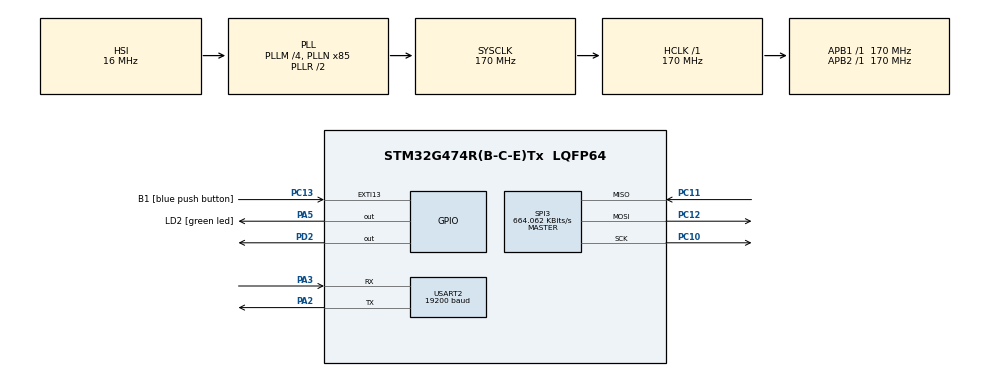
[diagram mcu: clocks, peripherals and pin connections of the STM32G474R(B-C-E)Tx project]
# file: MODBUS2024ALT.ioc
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Mcu.Family=STM32G4
Mcu.Name=STM32G474R(B-C-E)Tx
Mcu.Package=LQFP64
NVIC.EXTI15_10_IRQn=true\:0\:0\:false\:false\:true\:true\:true\:true
NVIC.PriorityGroup=NVIC_PRIORITYGROUP_4
NVIC.SPI3_IRQn=true\:0\:0\:false\:false\:true\:true\:true\:true
NVIC.TIM1_UP_TIM16_IRQn=true\:0\:0\:false\:false\:true\:true\:true\:true
NVIC.USART2_IRQn=true\:0\:0\:false\:false\:true\:true\:true\:true
PA13.GPIO_Label=T_SWDIO
PA13.Mode=Serial_Wire
PA13.Signal=SYS_JTMS-SWDIO
PA14.GPIO_Label=T_SWCLK
PA14.Mode=Serial_Wire
PA14.Signal=SYS_JTCK-SWCLK
PA2.Mode=Asynchronous
PA2.Signal=USART2_TX
PA3.Mode=Asynchronous
PA3.Signal=USART2_RX
PA5.GPIO_Label=LD2 [green led]
PA5.Signal=GPIO_Output
PB3.GPIO_Label=T_SWO
PB3.Signal=SYS_JTDO-SWO
PC10.Mode=Full_Duplex_Master
PC10.Signal=SPI3_SCK
PC11.Mode=Full_Duplex_Master
PC11.Signal=SPI3_MISO
PC12.Mode=Full_Duplex_Master
PC12.Signal=SPI3_MOSI
PC13.GPIO_Label=B1 [blue push button]
PC13.Signal=GPXTI13
PC14-OSC32_IN.Mode=LSE-External-Oscillator
PC14-OSC32_IN.Signal=RCC_OSC32_IN
PC15-OSC32_OUT.Mode=LSE-External-Oscillator
PC15-OSC32_OUT.Signal=RCC_OSC32_OUT
PD2.Signal=GPIO_Output
PF0-OSC_IN.Mode=HSE-External-Oscillator
PF0-OSC_IN.Signal=RCC_OSC_IN
PF1-OSC_OUT.Mode=HSE-External-Oscillator
PF1-OSC_OUT.Signal=RCC_OSC_OUT
ProjectManager.HeapSize=0x200
ProjectManager.StackSize=0x400
ProjectManager.TargetToolchain=STM32CubeIDE
RCC.ADC12Freq_Value=170000000
RCC.ADC345Freq_Value=170000000
RCC.AHBFreq_Value=170000000
RCC.APB1Freq_Value=170000000
RCC.APB1TimFreq_Value=170000000
RCC.APB2Freq_Value=170000000
RCC.APB2TimFreq_Value=170000000
RCC.CortexFreq_Value=170000000
RCC.EXTERNAL_CLOCK_VALUE=12288000
RCC.HCLKFreq_Value=170000000
RCC.HSE_VALUE=24000000
RCC.HSI48_VALUE=48000000
RCC.HSI_VALUE=16000000
RCC.PLLM=RCC_PLLM_DIV4
RCC.PLLN=85
RCC.RTCClockSelection=RCC_RTCCLKSOURCE_LSE
RCC.SYSCLKFreq_VALUE=170000000
RCC.SYSCLKSource=RCC_SYSCLKSOURCE_PLLCLK
RCC.USBFreq_Value=170000000
RCC.VCOOutputFreq_Value=340000000
SPI3.BaudRatePrescaler=SPI_BAUDRATEPRESCALER_256
SPI3.CalculateBaudRate=664.062 KBits/s
SPI3.DataSize=SPI_DATASIZE_8BIT
SPI3.Direction=SPI_DIRECTION_2LINES
SPI3.Mode=SPI_MODE_MASTER
SPI3.VirtualType=VM_MASTER
TIM16.PeriodNoDither=1145
TIM16.Prescaler=169
USART2.BaudRate=19200
USART2.Parity=PARITY_EVEN
USART2.VirtualMode-Asynchronous=VM_ASYNC
USART2.WordLength=WORDLENGTH_9B
VP_SYS_VS_DBSignals.Mode=DisableDeadBatterySignals
VP_TIM16_VS_ClockSourceINT.Mode=Enable_Timer
VP_TIM16_VS_OPM.Mode=OPM_bit
board=NUCLEO-G474RE

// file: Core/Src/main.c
/* USER CODE BEGIN Header */
/**
  ******************************************************************************
  * @file           : main.c
  * @brief          : Main program body
  ******************************************************************************
  * @attention
  *
  * Copyright (c) 2024 STMicroelectronics.
  * All rights reserved.
  *
  * This software is licensed under terms that can be found in the LICENSE file
  * in the root directory of this software component.
  * If no LICENSE file comes with this software, it is provided AS-IS.
  *
  ******************************************************************************
  */
/* USER CODE END Header */
#include "main.h"

/* USER CODE BEGIN Includes */
#include "ModBusRTU.h"
//#include "stm32h4xx_hal_msp"
/* USER CODE END Includes */

SPI_HandleTypeDef hspi3;

TIM_HandleTypeDef htim16;

UART_HandleTypeDef huart2;

/* USER CODE BEGIN PV */
ModbusHandleTypedef hmodbus;
u16u8_t registerFrame[200];
uint8_t SPIRx[10];
uint8_t SPITx[10];

/* USER CODE END PV */

void SystemClock_Config(void);
static void MX_GPIO_Init(void);
static void MX_USART2_UART_Init(void);
static void MX_TIM16_Init(void);
static void MX_SPI3_Init(void);
/* USER CODE BEGIN PFP */
void SPITxRx_Setup();
void SPITxRx_readIO();
void SPITxRx_writeIO();
/* USER CODE END PFP */

int main(void)
{

  /* MCU Configuration--------------------------------------------------------*/

  /* Reset of all peripherals, Initializes the Flash interface and the Systick. */
  HAL_Init();

  /* Configure the system clock */
  SystemClock_Config();

  /* Initialize all configured peripherals */
  MX_GPIO_Init();
  MX_USART2_UART_Init();
  MX_TIM16_Init();
  MX_SPI3_Init();
  /* USER CODE BEGIN 2 */
  hmodbus.huart = &huart2;
  hmodbus.htim = &htim16;
  hmodbus.slaveAddress = 0x15;
  hmodbus.RegisterSize =200;
  Modbus_init(&hmodbus, registerFrame);
  SPITxRx_Setup();
  /* USER CODE END 2 */

  /* Infinite loop */
  while (1)
  {

    /* USER CODE BEGIN 3 */
	  Modbus_Protocal_Worker();
	  SPITxRx_readIO();
	  registerFrame[0x00].U16 = SPIRx[2];
  }
  /* USER CODE END 3 */
}

void SystemClock_Config(void)
{
  RCC_OscInitTypeDef RCC_OscInitStruct = {0};
  RCC_ClkInitTypeDef RCC_ClkInitStruct = {0};

  /** Configure the main internal regulator output voltage
  */
  HAL_PWREx_ControlVoltageScaling(PWR_REGULATOR_VOLTAGE_SCALE1_BOOST);

  /** Initializes the RCC Oscillators according to the specified parameters
  * in the RCC_OscInitTypeDef structure.
  */
  RCC_OscInitStruct.OscillatorType = RCC_OSCILLATORTYPE_HSI;
  RCC_OscInitStruct.HSIState = RCC_HSI_ON;
  RCC_OscInitStruct.HSICalibrationValue = RCC_HSICALIBRATION_DEFAULT;
  RCC_OscInitStruct.PLL.PLLState = RCC_PLL_ON;
  RCC_OscInitStruct.PLL.PLLSource = RCC_PLLSOURCE_HSI;
  RCC_OscInitStruct.PLL.PLLM = RCC_PLLM_DIV4;
  RCC_OscInitStruct.PLL.PLLN = 85;
  RCC_OscInitStruct.PLL.PLLP = RCC_PLLP_DIV2;
  RCC_OscInitStruct.PLL.PLLQ = RCC_PLLQ_DIV2;
  RCC_OscInitStruct.PLL.PLLR = RCC_PLLR_DIV2;
  if (HAL_RCC_OscConfig(&RCC_OscInitStruct) != HAL_OK)
  {
    Error_Handler();
  }

  /** Initializes the CPU, AHB and APB buses clocks
  */
  RCC_ClkInitStruct.ClockType = RCC_CLOCKTYPE_HCLK|RCC_CLOCKTYPE_SYSCLK
                              |RCC_CLOCKTYPE_PCLK1|RCC_CLOCKTYPE_PCLK2;
  RCC_ClkInitStruct.SYSCLKSource = RCC_SYSCLKSOURCE_PLLCLK;
  RCC_ClkInitStruct.AHBCLKDivider = RCC_SYSCLK_DIV1;
  RCC_ClkInitStruct.APB1CLKDivider = RCC_HCLK_DIV1;
  RCC_ClkInitStruct.APB2CLKDivider = RCC_HCLK_DIV1;

  if (HAL_RCC_ClockConfig(&RCC_ClkInitStruct, FLASH_LATENCY_4) != HAL_OK)
  {
    Error_Handler();
  }
}

static void MX_SPI3_Init(void)
{

  /* SPI3 parameter configuration*/
  hspi3.Instance = SPI3;
  hspi3.Init.Mode = SPI_MODE_MASTER;
  hspi3.Init.Direction = SPI_DIRECTION_2LINES;
  hspi3.Init.DataSize = SPI_DATASIZE_8BIT;
  hspi3.Init.CLKPolarity = SPI_POLARITY_LOW;
  hspi3.Init.CLKPhase = SPI_PHASE_1EDGE;
  hspi3.Init.NSS = SPI_NSS_SOFT;
  hspi3.Init.BaudRatePrescaler = SPI_BAUDRATEPRESCALER_256;
  hspi3.Init.FirstBit = SPI_FIRSTBIT_MSB;
  hspi3.Init.TIMode = SPI_TIMODE_DISABLE;
  hspi3.Init.CRCCalculation = SPI_CRCCALCULATION_DISABLE;
  hspi3.Init.CRCPolynomial = 7;
  hspi3.Init.CRCLength = SPI_CRC_LENGTH_DATASIZE;
  hspi3.Init.NSSPMode = SPI_NSS_PULSE_ENABLE;
  if (HAL_SPI_Init(&hspi3) != HAL_OK)
  {
    Error_Handler();
  }

}

static void MX_TIM16_Init(void)
{

  htim16.Instance = TIM16;
  htim16.Init.Prescaler = 169;
  htim16.Init.CounterMode = TIM_COUNTERMODE_UP;
  htim16.Init.Period = 1145;
  htim16.Init.ClockDivision = TIM_CLOCKDIVISION_DIV1;
  htim16.Init.RepetitionCounter = 0;
  htim16.Init.AutoReloadPreload = TIM_AUTORELOAD_PRELOAD_DISABLE;
  if (HAL_TIM_Base_Init(&htim16) != HAL_OK)
  {
    Error_Handler();
  }
  if (HAL_TIM_OnePulse_Init(&htim16, TIM_OPMODE_SINGLE) != HAL_OK)
  {
    Error_Handler();
  }

}

static void MX_USART2_UART_Init(void)
{

  huart2.Instance = USART2;
  huart2.Init.BaudRate = 19200;
  huart2.Init.WordLength = UART_WORDLENGTH_9B;
  huart2.Init.StopBits = UART_STOPBITS_1;
  huart2.Init.Parity = UART_PARITY_EVEN;
  huart2.Init.Mode = UART_MODE_TX_RX;
  huart2.Init.HwFlowCtl = UART_HWCONTROL_NONE;
  huart2.Init.OverSampling = UART_OVERSAMPLING_16;
  huart2.Init.OneBitSampling = UART_ONE_BIT_SAMPLE_DISABLE;
  huart2.Init.ClockPrescaler = UART_PRESCALER_DIV1;
  huart2.AdvancedInit.AdvFeatureInit = UART_ADVFEATURE_NO_INIT;
  if (HAL_UART_Init(&huart2) != HAL_OK)
  {
    Error_Handler();
  }
  if (HAL_UARTEx_SetTxFifoThreshold(&huart2, UART_TXFIFO_THRESHOLD_1_8) != HAL_OK)
  {
    Error_Handler();
  }
  if (HAL_UARTEx_SetRxFifoThreshold(&huart2, UART_RXFIFO_THRESHOLD_1_8) != HAL_OK)
  {
    Error_Handler();
  }
  if (HAL_UARTEx_DisableFifoMode(&huart2) != HAL_OK)
  {
    Error_Handler();
  }

}

static void MX_GPIO_Init(void)
{
  GPIO_InitTypeDef GPIO_InitStruct = {0};

  /* GPIO Ports Clock Enable */
  __HAL_RCC_GPIOC_CLK_ENABLE();
  __HAL_RCC_GPIOF_CLK_ENABLE();
  __HAL_RCC_GPIOA_CLK_ENABLE();
  __HAL_RCC_GPIOD_CLK_ENABLE();
  __HAL_RCC_GPIOB_CLK_ENABLE();

  /*Configure GPIO pin Output Level */
  HAL_GPIO_WritePin(LD2_GPIO_Port, LD2_Pin, GPIO_PIN_RESET);

  /*Configure GPIO pin Output Level */
  HAL_GPIO_WritePin(GPIOD, GPIO_PIN_2, GPIO_PIN_RESET);

  /*Configure GPIO pin : B1_Pin */
  GPIO_InitStruct.Pin = B1_Pin;
  GPIO_InitStruct.Mode = GPIO_MODE_IT_RISING;
  GPIO_InitStruct.Pull = GPIO_NOPULL;
  HAL_GPIO_Init(B1_GPIO_Port, &GPIO_InitStruct);

  /*Configure GPIO pin : LD2_Pin */
  GPIO_InitStruct.Pin = LD2_Pin;
  GPIO_InitStruct.Mode = GPIO_MODE_OUTPUT_PP;
  GPIO_InitStruct.Pull = GPIO_NOPULL;
  GPIO_InitStruct.Speed = GPIO_SPEED_FREQ_LOW;
  HAL_GPIO_Init(LD2_GPIO_Port, &GPIO_InitStruct);

  /*Configure GPIO pin : PD2 */
  GPIO_InitStruct.Pin = GPIO_PIN_2;
  GPIO_InitStruct.Mode = GPIO_MODE_OUTPUT_PP;
  GPIO_InitStruct.Pull = GPIO_NOPULL;
  GPIO_InitStruct.Speed = GPIO_SPEED_FREQ_LOW;
  HAL_GPIO_Init(GPIOD, &GPIO_InitStruct);

  /* EXTI interrupt init*/
  HAL_NVIC_SetPriority(EXTI15_10_IRQn, 0, 0);
  HAL_NVIC_EnableIRQ(EXTI15_10_IRQn);

}

/* USER CODE BEGIN 4 */
void SPITxRx_Setup()
{
//CS pulse
	HAL_GPIO_WritePin(GPIOD, GPIO_PIN_2, 0); // CS Select
	HAL_Delay(1);
	HAL_GPIO_WritePin(GPIOD, GPIO_PIN_2, 1); // CS deSelect
	HAL_Delay(1);
}

void SPITxRx_readIO()
{
	if(HAL_GPIO_ReadPin(GPIOD,GPIO_PIN_2))
	{
		HAL_GPIO_WritePin(GPIOD, GPIO_PIN_2, 0); // CS Select
		SPITx[0] = 0b01000001;
		SPITx[1] = 0x12;
		SPITx[2] = 0;

		HAL_SPI_TransmitReceive_IT(&hspi3, SPITx, SPIRx, 3);
	}
}

void HAL_SPI_TxRxCpltCallback(SPI_HandleTypeDef *hspi)
{
	HAL_GPIO_WritePin(GPIOD, GPIO_PIN_2, 1); //CS dnSelect
}
/* USER CODE END 4 */

void Error_Handler(void)
{
  __disable_irq();
  while (1)
  {
  }
}
